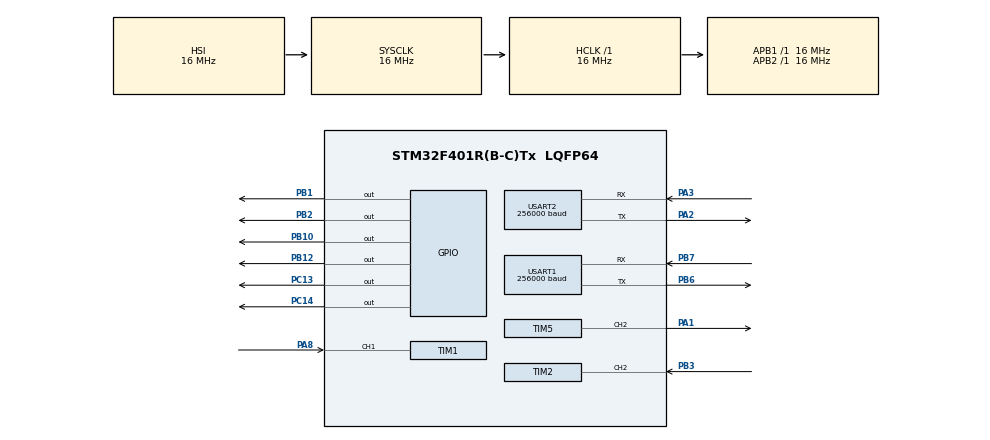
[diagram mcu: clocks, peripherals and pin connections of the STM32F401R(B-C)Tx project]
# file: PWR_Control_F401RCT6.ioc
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Mcu.Family=STM32F4
Mcu.Name=STM32F401R(B-C)Tx
Mcu.Package=LQFP64
NVIC.PriorityGroup=NVIC_PRIORITYGROUP_4
NVIC.TIM1_CC_IRQn=true\:0\:0\:false\:false\:true\:true\:true\:true
NVIC.TIM2_IRQn=true\:0\:0\:false\:false\:true\:true\:true\:true
NVIC.TIM3_IRQn=true\:0\:0\:false\:false\:true\:true\:true\:true
NVIC.USART1_IRQn=true\:0\:0\:false\:false\:true\:true\:true\:true
NVIC.USART2_IRQn=true\:0\:0\:false\:false\:true\:true\:true\:true
PA1.Signal=S_TIM5_CH2
PA13.Mode=Serial_Wire
PA13.Signal=SYS_JTMS-SWDIO
PA14.Mode=Serial_Wire
PA14.Signal=SYS_JTCK-SWCLK
PA2.Mode=Asynchronous
PA2.Signal=USART2_TX
PA3.Mode=Asynchronous
PA3.Signal=USART2_RX
PA8.Signal=S_TIM1_CH1
PB1.Signal=GPIO_Output
PB10.Signal=GPIO_Output
PB12.Signal=GPIO_Output
PB2.Signal=GPIO_Output
PB3.Signal=S_TIM2_CH2
PB6.Mode=Asynchronous
PB6.Signal=USART1_TX
PB7.Mode=Asynchronous
PB7.Signal=USART1_RX
PC13-ANTI_TAMP.Signal=GPIO_Output
PC14-OSC32_IN.Signal=GPIO_Output
ProjectManager.HeapSize=0x200
ProjectManager.StackSize=0x400
ProjectManager.TargetToolchain=STM32CubeIDE
RCC.AHBFreq_Value=16000000
RCC.APB1Freq_Value=16000000
RCC.APB1TimFreq_Value=16000000
RCC.APB2Freq_Value=16000000
RCC.CortexFreq_Value=16000000
RCC.HSE_VALUE=25000000
RCC.HSI_VALUE=16000000
RCC.LSE_VALUE=32768
RCC.SYSCLKFreq_VALUE=16000000
RCC.VCOOutputFreq_Value=192000000
SH.S_TIM1_CH1.0=TIM1_CH1,Input_Capture1_from_TI1
SH.S_TIM2_CH2.0=TIM2_CH2,Input_Capture2_from_TI2
SH.S_TIM5_CH2.0=TIM5_CH2,PWM Generation2 CH2
TIM1.Channel-Input_Capture1_from_TI1=TIM_CHANNEL_1
TIM1.Prescaler=3199
TIM2.Channel-Input_Capture2_from_TI2=TIM_CHANNEL_2
TIM2.Period=65535
TIM2.Prescaler=3199
TIM3.Period=99
TIM3.Prescaler=15
TIM5.Channel-PWM\ Generation2\ CH2=TIM_CHANNEL_2
TIM5.Period=99
TIM5.Prescaler=3199
USART1.BaudRate=256000
USART1.VirtualMode=VM_ASYNC
USART2.BaudRate=256000
USART2.VirtualMode=VM_ASYNC
VP_TIM1_VS_ClockSourceINT.Mode=Internal
VP_TIM2_VS_ClockSourceINT.Mode=Internal
VP_TIM3_VS_ClockSourceINT.Mode=Internal
VP_TIM5_VS_ClockSourceINT.Mode=Internal
board=custom

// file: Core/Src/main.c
/* USER CODE BEGIN Header */
/**
  ******************************************************************************
  * @file           : main.c
  * @brief          : Main program body
  ******************************************************************************
  * @attention
  *
  * <h2><center>&copy; Copyright (c) 2025 STMicroelectronics.
  * All rights reserved.</center></h2>
  *
  * This software component is licensed by ST under BSD 3-Clause license,
  * the "License"; You may not use this file except in compliance with the
  * License. You may obtain a copy of the License at:
  *                        opensource.org/licenses/BSD-3-Clause
  *
  ******************************************************************************
  */
/* USER CODE END Header */
#include "main.h"
#include "tim.h"
#include "usart.h"
#include "gpio.h"

/* USER CODE BEGIN Includes */
#include "hall_sensor.h"
#include "lasers.h"
#include "mks42d.h"
#include "motor_control.h"
#include "computer_bridge.h"
#include "uart_hal.h"
#include "config.h"
#include "injection_and_flow.h"
#include "state_machine.h"
// #include "usb_debug.h" // unused as of current -- check for anything useful in there...
#include "comms_protocol.h"
#include "comms_app.h"
/* USER CODE END Includes */

/* USER CODE BEGIN PV */
volatile bool hall_check_flag = false;
volatile bool lasers_flag = false;
volatile bool motor_flag = false;
volatile bool motor_read_flag = false;
volatile bool stepper_rx_check_flag = false;
volatile bool check_start_flag = false;
volatile bool transmit_data_flag = false;

// flowmeter + injection pump:
// volatile int flowmeter_pulse_flag = 0;
volatile bool injection_system_flag = 0;

uint32_t timer_cnt_1s = 0;
uint8_t timer_cnt_10ms = 0;
uint32_t usart_count_ms = 0;
uint32_t stepper_motor_read_count_ms = 0;
uint32_t timer_sync_count = 0;
uint32_t usb_serial_timer = 0;

/* USER CODE END PV */

void SystemClock_Config(void);

int main(void)
{

  /* MCU Configuration--------------------------------------------------------*/

  /* Reset of all peripherals, Initializes the Flash interface and the Systick. */
  HAL_Init();

  /* Configure the system clock */
  SystemClock_Config();

  /* Initialize all configured peripherals */
  MX_GPIO_Init();
  MX_TIM2_Init();
  MX_TIM3_Init();
  MX_TIM5_Init();
  MX_USART2_UART_Init();
  MX_USART1_UART_Init();
  MX_TIM1_Init();
  /* USER CODE BEGIN 2 */

	HAL_TIM_Base_Start_IT(&htim3); // TIM3: 100 us system tick (SYSTEM_TICK)
	HAL_TIM_PWM_Start(&htim5, TIM_CHANNEL_2); // TIM5-CH2: injection pump PWM
	HAL_TIM_IC_Start_IT(&htim1, TIM_CHANNEL_1); // TIM1-CH1: secondary flowmeter (PA8)
	HAL_TIM_IC_Start_IT(&htim2, TIM_CHANNEL_2); // TIM2-CH2: primary flowmeter (PB3)
//
//	// Custom Init functions:
	InjectionAndFlow_Init();
	flags_init();
//
//	// in main() after HAL and peripheral init:
//
//	// ComputerBridge_Init();    // sets up comms // (now unused)
	StateMachine_Init();      // sets state to SYS_STARTUP
//
	Comms_Init(USART1); // set up comms
	UartHAL_FlushRx(USART1);
//	// UartHAL_EnableRxIRQ(USART6, 1);  // re-enable RX interrupt

	HAL_GPIO_WritePin(GPIOB, GPIO_PIN_1, 0);
	HAL_GPIO_WritePin(GPIOB, GPIO_PIN_2, 0);
	HAL_GPIO_WritePin(GPIOB, GPIO_PIN_10, 0);
//	/*
//	while (1) {
//		if (USART6->CR1 & USART_CR1_RXNEIE) {
//		    char c = 'A';
//		    // UartHAL_Send(USART6, (uint8_t*)&c, 1);  // should send
//		    Comms_SendHeartbeat();
//		    HAL_Delay(10);
//		} else {
//		    char c = 'X';
//		    // UartHAL_Send(USART6, (uint8_t*)&c, 1);  // debug
//		}
//	}
//	*/

//	//*/

//
	while (1) {
//		// keep Comms parsing running
	Comms_Process();

//		// state machine handling for startup/handshake/timeouts
	StateMachine_ProcessTick();

//		// send telemetry and heartbeat packets)
	Comms_Tick();

//		// Small delay / let other interrupts do work; do not block.
	}

  /* USER CODE END 2 */

  /* Infinite loop */

}

void SystemClock_Config(void)
{
  RCC_OscInitTypeDef RCC_OscInitStruct = {0};
  RCC_ClkInitTypeDef RCC_ClkInitStruct = {0};

  /** Configure the main internal regulator output voltage
  */
  __HAL_RCC_PWR_CLK_ENABLE();
  __HAL_PWR_VOLTAGESCALING_CONFIG(PWR_REGULATOR_VOLTAGE_SCALE2);

  /** Initializes the RCC Oscillators according to the specified parameters
  * in the RCC_OscInitTypeDef structure.
  */
  RCC_OscInitStruct.OscillatorType = RCC_OSCILLATORTYPE_HSI;
  RCC_OscInitStruct.HSIState = RCC_HSI_ON;
  RCC_OscInitStruct.HSICalibrationValue = RCC_HSICALIBRATION_DEFAULT;
  RCC_OscInitStruct.PLL.PLLState = RCC_PLL_NONE;
  if (HAL_RCC_OscConfig(&RCC_OscInitStruct) != HAL_OK)
  {
    Error_Handler();
  }

  /** Initializes the CPU, AHB and APB buses clocks
  */
  RCC_ClkInitStruct.ClockType = RCC_CLOCKTYPE_HCLK|RCC_CLOCKTYPE_SYSCLK
                              |RCC_CLOCKTYPE_PCLK1|RCC_CLOCKTYPE_PCLK2;
  RCC_ClkInitStruct.SYSCLKSource = RCC_SYSCLKSOURCE_HSI;
  RCC_ClkInitStruct.AHBCLKDivider = RCC_SYSCLK_DIV1;
  RCC_ClkInitStruct.APB1CLKDivider = RCC_HCLK_DIV1;
  RCC_ClkInitStruct.APB2CLKDivider = RCC_HCLK_DIV1;

  if (HAL_RCC_ClockConfig(&RCC_ClkInitStruct, FLASH_LATENCY_0) != HAL_OK)
  {
    Error_Handler();
  }
}

/* USER CODE BEGIN 4 */
void HAL_TIM_IC_CaptureCallback(TIM_HandleTypeDef *htim) {

	///*
	if (htim->Instance == TIM1 && htim->Channel == HAL_TIM_ACTIVE_CHANNEL_1) {
        FlowMeter2_PulseCallback(); // call the function directly from the ISR for better real-time timestamping.
	}
	//*/

	///*
    if (htim->Instance == TIM2 && htim->Channel == HAL_TIM_ACTIVE_CHANNEL_2) {
            FlowMeter_PulseCallback(); // call the function directly from the ISR for better real-time timestamping.
    	}
    //*/

}

/* inside HAL_TIM_PeriodElapsedCallback */
void HAL_TIM_PeriodElapsedCallback(TIM_HandleTypeDef *htim)
{
    if (htim->Instance == TIM3) {
        /* increment the system tick (single timebase used for timestamps) */
    	SYSTEM_TICK++;

        #if RECORD_PULSE_TIMESTAMPS
            FlowMeter_TickHook();
        #endif

        HAL_GPIO_WritePin(GPIOB, GPIO_PIN_14, 1);
        HAL_GPIO_WritePin(GPIOB, GPIO_PIN_14, 0);

        hall_check_flag = true;
        lasers_flag = true;
        stepper_rx_check_flag = true;
        check_start_flag = true;

        /* Convert ms counters to ticks where appropriate in other modules.
           Keep these counters for backward compatibility but they are driven by the ISR tick increments. */

        if (++timer_cnt_10ms >= 100) {
            timer_cnt_10ms = 0;
            motor_read_flag = true;
        }

        // simple counters retained but can be refactored to use tim6_tick comparisons
        if (++timer_cnt_1s >= 10000) {
            timer_cnt_1s = 0;
            motor_flag = true;
        }

        /*
        if (++usart_count_ms >= PI_STM_TRANSMIT_DATA_PERIOD_MS) {
            usart_count_ms = 0;
            transmit_data_flag = true;
        }
        */

        /*
        if (++stepper_motor_read_count_ms >= STEPPER_MOTOR_READ_PERIOD_MS) {
            stepper_motor_read_count_ms = 0;
            motor_read_flag = true;
        }
        */

        if (usb_serial_debug_enabled) {
        	if (++usb_serial_timer >= serial_send_ticks_threshold) {
        	            usb_serial_timer = 0;
        	            usb_serial_flag = 1;
        	        }
        }

        if (++Pump_Control.pump_counter >= pump_ticks_threshold) {
            Pump_Control.pump_counter = 0;
            Pump_Control.pump_flag = 1;
        }

        if (++Pump_Control.solenoid_counter >= MS_TO_TICKS(SOLENOID_UPDATE_PERIOD_MS)) {
			Pump_Control.solenoid_counter = 0;
			Pump_Control.solenoid_flag = 1;
        }

        if (++debug_ticker_1 >= 1000) {
            debug_ticker_1 = 0;
            debug_flag_1 = 1;
        }

        if (run_state) {
            timer_sync_count++;
        } else {
            timer_sync_count = 0;
        }

    }
}

/* USER CODE END 4 */

void Error_Handler(void)
{
  /* USER CODE BEGIN Error_Handler_Debug */
  /* User can add his own implementation to report the HAL error return state */
  __disable_irq();
  while (1) {};
  /* USER CODE END Error_Handler_Debug */
}
